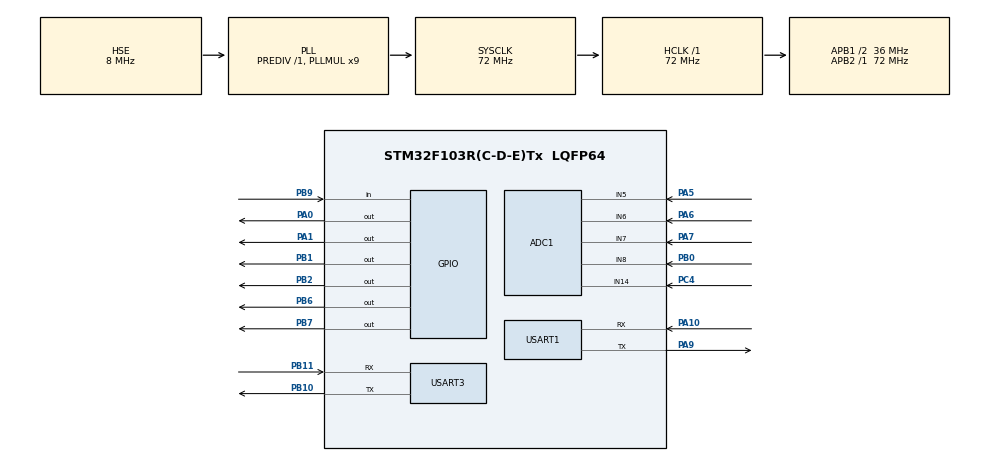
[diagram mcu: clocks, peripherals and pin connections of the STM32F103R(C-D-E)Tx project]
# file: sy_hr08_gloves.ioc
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ADC1.Channel-0\#ChannelRegularConversion=ADC_CHANNEL_5
ADC1.Channel-1\#ChannelRegularConversion=ADC_CHANNEL_6
ADC1.Channel-2\#ChannelRegularConversion=ADC_CHANNEL_7
ADC1.Channel-3\#ChannelRegularConversion=ADC_CHANNEL_14
ADC1.Channel-4\#ChannelRegularConversion=ADC_CHANNEL_8
ADC1.ContinuousConvMode=DISABLE
ADC1.DataAlign=ADC_DATAALIGN_RIGHT
ADC1.DiscontinuousConvMode=DISABLE
ADC1.EnableAnalogWatchDog=false
ADC1.EnableRegularConversion=ENABLE
ADC1.ExternalTrigConvEdgeChoice=NONE
ADC1.InjNumberOfConversion=0
ADC1.NbrOfConversion=5
ADC1.NbrOfConversionFlag=1
ADC1.Rank-0\#ChannelRegularConversion=1
ADC1.Rank-1\#ChannelRegularConversion=2
ADC1.Rank-2\#ChannelRegularConversion=3
ADC1.Rank-3\#ChannelRegularConversion=4
ADC1.Rank-4\#ChannelRegularConversion=5
ADC1.SamplingTime-0\#ChannelRegularConversion=ADC_SAMPLETIME_71CYCLES_5
ADC1.SamplingTime-1\#ChannelRegularConversion=ADC_SAMPLETIME_71CYCLES_5
ADC1.SamplingTime-2\#ChannelRegularConversion=ADC_SAMPLETIME_71CYCLES_5
ADC1.SamplingTime-3\#ChannelRegularConversion=ADC_SAMPLETIME_71CYCLES_5
ADC1.SamplingTime-4\#ChannelRegularConversion=ADC_SAMPLETIME_71CYCLES_5
ADC1.ScanConvMode=ADC_SCAN_ENABLE
ADC1.master=1
Dma.ADC1.0.Direction=DMA_PERIPH_TO_MEMORY
Dma.ADC1.0.Instance=DMA1_Channel1
Dma.ADC1.0.MemDataAlignment=DMA_MDATAALIGN_WORD
Dma.ADC1.0.MemInc=DMA_MINC_ENABLE
Dma.ADC1.0.Mode=DMA_NORMAL
Dma.ADC1.0.PeriphDataAlignment=DMA_PDATAALIGN_WORD
Dma.ADC1.0.PeriphInc=DMA_PINC_DISABLE
Dma.ADC1.0.Priority=DMA_PRIORITY_HIGH
Dma.Request0=ADC1
Mcu.Family=STM32F1
Mcu.Name=STM32F103R(C-D-E)Tx
Mcu.Package=LQFP64
NVIC.DMA1_Channel1_IRQn=true\:0\:0\:false\:false\:true
NVIC.PriorityGroup=NVIC_PRIORITYGROUP_4
NVIC.USART1_IRQn=true\:0\:0\:false\:false\:true
NVIC.USART3_IRQn=true\:0\:0\:false\:false\:true
PA0-WKUP.Signal=GPIO_Output
PA1.Signal=GPIO_Output
PA10.Mode=Asynchronous
PA10.Signal=USART1_RX
PA13.Mode=Serial_Wire
PA13.Signal=SYS_JTMS-SWDIO
PA14.Mode=Serial_Wire
PA14.Signal=SYS_JTCK-SWCLK
PA5.Signal=ADCx_IN5
PA6.Signal=ADCx_IN6
PA7.Signal=ADCx_IN7
PA9.Mode=Asynchronous
PA9.Signal=USART1_TX
PB0.Signal=ADCx_IN8
PB1.Signal=GPIO_Output
PB10.Mode=Asynchronous
PB10.Signal=USART3_TX
PB11.Mode=Asynchronous
PB11.Signal=USART3_RX
PB2.Signal=GPIO_Output
PB6.Signal=GPIO_Output
PB7.Signal=GPIO_Output
PB9.GPIO_PuPd=GPIO_PULLUP
PB9.Signal=GPIO_Input
PC4.Signal=ADCx_IN14
PD0-OSC_IN.Mode=HSE-External-Oscillator
PD0-OSC_IN.Signal=RCC_OSC_IN
PD1-OSC_OUT.Mode=HSE-External-Oscillator
PD1-OSC_OUT.Signal=RCC_OSC_OUT
ProjectManager.HeapSize=0x200
ProjectManager.StackSize=0x400
ProjectManager.TargetToolchain=MDK-ARM V5
RCC.ADCPresc=RCC_ADCPCLK2_DIV6
RCC.AHBFreq_Value=72000000
RCC.APB1CLKDivider=RCC_HCLK_DIV2
RCC.APB1Freq_Value=36000000
RCC.APB1TimCLKDivider=1
RCC.APB1TimFreq_Value=36000000
RCC.APB2Freq_Value=72000000
RCC.APB2TimFreq_Value=72000000
RCC.HCLKFreq_Value=72000000
RCC.HSIState=RCC_HSI_ON
RCC.PLLMUL=RCC_PLL_MUL9
RCC.PLLSourceVirtual=RCC_PLLSOURCE_HSE
RCC.SYSCLKFreq_VALUE=72000000
RCC.SYSCLKSource=RCC_SYSCLKSOURCE_PLLCLK
RCC.USBFreq_Value=72000000
SH.ADCx_IN14.0=ADC1_IN14,IN14
SH.ADCx_IN5.0=ADC1_IN5,IN5
SH.ADCx_IN6.0=ADC1_IN6,IN6
SH.ADCx_IN7.0=ADC1_IN7,IN7
SH.ADCx_IN8.0=ADC1_IN8,IN8
board=sy_hr08_gloves

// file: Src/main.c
/**
  ******************************************************************************
  * File Name          : main.c
  * Description        : Main program body
  ******************************************************************************
  *
  * COPYRIGHT(c) 2018 STMicroelectronics
  *
  * Redistribution and use in source and binary forms, with or without modification,
  * are permitted provided that the following conditions are met:
  *   1. Redistributions of source code must retain the above copyright notice,
  *      this list of conditions and the following disclaimer.
  *   2. Redistributions in binary form must reproduce the above copyright notice,
  *      this list of conditions and the following disclaimer in the documentation
  *      and/or other materials provided with the distribution.
  *   3. Neither the name of STMicroelectronics nor the names of its contributors
  *      may be used to endorse or promote products derived from this software
  *      without specific prior written permission.
  *
  * THIS SOFTWARE IS PROVIDED BY THE COPYRIGHT HOLDERS AND CONTRIBUTORS "AS IS"
  * AND ANY EXPRESS OR IMPLIED WARRANTIES, INCLUDING, BUT NOT LIMITED TO, THE
  * IMPLIED WARRANTIES OF MERCHANTABILITY AND FITNESS FOR A PARTICULAR PURPOSE ARE
  * DISCLAIMED. IN NO EVENT SHALL THE COPYRIGHT HOLDER OR CONTRIBUTORS BE LIABLE
  * FOR ANY DIRECT, INDIRECT, INCIDENTAL, SPECIAL, EXEMPLARY, OR CONSEQUENTIAL
  * DAMAGES (INCLUDING, BUT NOT LIMITED TO, PROCUREMENT OF SUBSTITUTE GOODS OR
  * SERVICES; LOSS OF USE, DATA, OR PROFITS; OR BUSINESS INTERRUPTION) HOWEVER
  * CAUSED AND ON ANY THEORY OF LIABILITY, WHETHER IN CONTRACT, STRICT LIABILITY,
  * OR TORT (INCLUDING NEGLIGENCE OR OTHERWISE) ARISING IN ANY WAY OUT OF THE USE
  * OF THIS SOFTWARE, EVEN IF ADVISED OF THE POSSIBILITY OF SUCH DAMAGE.
  *
  ******************************************************************************
  */
#include "stm32f1xx_hal.h"

/* USER CODE BEGIN Includes */
#include "cmsis_os.h" // ARM::CMSIS:RTOS:Keil RTX
#include <stdio.h>
#include <string.h>
#include <stdlib.h>
#include "thread_of_imu_uart.h"
#include "thread_of_host_uart.h"
/* USER CODE END Includes */

ADC_HandleTypeDef hadc1;
DMA_HandleTypeDef hdma_adc1;

UART_HandleTypeDef huart1;
UART_HandleTypeDef huart3;

/* USER CODE BEGIN PV */
/* Private variables ---------------------------------------------------------*/

/* USER CODE END PV */

void SystemClock_Config(void);
static void MX_GPIO_Init(void);
static void MX_DMA_Init(void);
static void MX_ADC1_Init(void);
static void MX_USART1_UART_Init(void);
static void MX_USART3_UART_Init(void);

/* USER CODE BEGIN PFP */
/* Private function prototypes -----------------------------------------------*/

/* USER CODE END PFP */

/* USER CODE BEGIN 0 */

extern uint32_t os_time;
uint32_t HAL_GetTick(void) {
	// Add HAL_GetTick function for STM32Cube HAL

return os_time;
}
/* USER CODE END 0 */

int main(void)
{

  /* USER CODE BEGIN 1 */
	osKernelInitialize ();               // Initialize RTOS Kernel for setup
  /* USER CODE END 1 */

  /* MCU Configuration----------------------------------------------------------*/

  /* Reset of all peripherals, Initializes the Flash interface and the Systick. */
  HAL_Init();

  /* Configure the system clock */
  SystemClock_Config();

  /* Initialize all configured peripherals */
  MX_GPIO_Init();
  MX_DMA_Init();
  MX_ADC1_Init();
  MX_USART1_UART_Init();
  MX_USART3_UART_Init();

  /* USER CODE BEGIN 2 */

	init_thread_of_imu_uart ();
	init_thread_of_host_uart_tx ();
	init_thread_of_host_uart_rx ();

	osKernelStart ();                    // Begin thread switching
	HAL_GPIO_WritePin(GPIOB, GPIO_PIN_1, GPIO_PIN_RESET);
	osDelay(50);
	HAL_GPIO_WritePin(GPIOB, GPIO_PIN_1, GPIO_PIN_SET);
	HAL_ADCEx_Calibration_Start(&hadc1);
  /* USER CODE END 2 */

  /* Infinite loop */
  while (1)
  {

  /* USER CODE BEGIN 3 */
		osDelay(1000);
		HAL_GPIO_TogglePin(GPIOA,GPIO_PIN_0);
		HAL_GPIO_TogglePin(GPIOA,GPIO_PIN_1);
  }
  /* USER CODE END 3 */

}

/** System Clock Configuration
*/
void SystemClock_Config(void)
{

  RCC_OscInitTypeDef RCC_OscInitStruct;
  RCC_ClkInitTypeDef RCC_ClkInitStruct;
  RCC_PeriphCLKInitTypeDef PeriphClkInit;

  RCC_OscInitStruct.OscillatorType = RCC_OSCILLATORTYPE_HSE;
  RCC_OscInitStruct.HSEState = RCC_HSE_ON;
  RCC_OscInitStruct.HSEPredivValue = RCC_HSE_PREDIV_DIV1;
  RCC_OscInitStruct.PLL.PLLState = RCC_PLL_ON;
  RCC_OscInitStruct.PLL.PLLSource = RCC_PLLSOURCE_HSE;
  RCC_OscInitStruct.PLL.PLLMUL = RCC_PLL_MUL9;
  HAL_RCC_OscConfig(&RCC_OscInitStruct);

  RCC_ClkInitStruct.ClockType = RCC_CLOCKTYPE_HCLK|RCC_CLOCKTYPE_SYSCLK
                              |RCC_CLOCKTYPE_PCLK1|RCC_CLOCKTYPE_PCLK2;
  RCC_ClkInitStruct.SYSCLKSource = RCC_SYSCLKSOURCE_PLLCLK;
  RCC_ClkInitStruct.AHBCLKDivider = RCC_SYSCLK_DIV1;
  RCC_ClkInitStruct.APB1CLKDivider = RCC_HCLK_DIV2;
  RCC_ClkInitStruct.APB2CLKDivider = RCC_HCLK_DIV1;
  HAL_RCC_ClockConfig(&RCC_ClkInitStruct, FLASH_LATENCY_2);

  PeriphClkInit.PeriphClockSelection = RCC_PERIPHCLK_ADC;
  PeriphClkInit.AdcClockSelection = RCC_ADCPCLK2_DIV6;
  HAL_RCCEx_PeriphCLKConfig(&PeriphClkInit);

  HAL_SYSTICK_Config(HAL_RCC_GetHCLKFreq()/1000);

  HAL_SYSTICK_CLKSourceConfig(SYSTICK_CLKSOURCE_HCLK);

  /* SysTick_IRQn interrupt configuration */
  HAL_NVIC_SetPriority(SysTick_IRQn, 0, 0);
}

/* ADC1 init function */
void MX_ADC1_Init(void)
{

  ADC_ChannelConfTypeDef sConfig;

    /**Common config
    */
  hadc1.Instance = ADC1;
  hadc1.Init.ScanConvMode = ADC_SCAN_ENABLE;
  hadc1.Init.ContinuousConvMode = DISABLE;
  hadc1.Init.DiscontinuousConvMode = DISABLE;
  hadc1.Init.ExternalTrigConv = ADC_SOFTWARE_START;
  hadc1.Init.DataAlign = ADC_DATAALIGN_RIGHT;
  hadc1.Init.NbrOfConversion = 5;
  HAL_ADC_Init(&hadc1);

    /**Configure Regular Channel
    */
  sConfig.Channel = ADC_CHANNEL_5;
  sConfig.Rank = 1;
  sConfig.SamplingTime = ADC_SAMPLETIME_71CYCLES_5;
  HAL_ADC_ConfigChannel(&hadc1, &sConfig);

    /**Configure Regular Channel
    */
  sConfig.Channel = ADC_CHANNEL_6;
  sConfig.Rank = 2;
  HAL_ADC_ConfigChannel(&hadc1, &sConfig);

    /**Configure Regular Channel
    */
  sConfig.Channel = ADC_CHANNEL_7;
  sConfig.Rank = 3;
  HAL_ADC_ConfigChannel(&hadc1, &sConfig);

    /**Configure Regular Channel
    */
  sConfig.Channel = ADC_CHANNEL_14;
  sConfig.Rank = 4;
  HAL_ADC_ConfigChannel(&hadc1, &sConfig);

    /**Configure Regular Channel
    */
  sConfig.Channel = ADC_CHANNEL_8;
  sConfig.Rank = 5;
  HAL_ADC_ConfigChannel(&hadc1, &sConfig);

}

/* USART1 init function */
void MX_USART1_UART_Init(void)
{

  huart1.Instance = USART1;
  huart1.Init.BaudRate = 115200;
  huart1.Init.WordLength = UART_WORDLENGTH_8B;
  huart1.Init.StopBits = UART_STOPBITS_1;
  huart1.Init.Parity = UART_PARITY_NONE;
  huart1.Init.Mode = UART_MODE_TX_RX;
  huart1.Init.HwFlowCtl = UART_HWCONTROL_NONE;
  huart1.Init.OverSampling = UART_OVERSAMPLING_16;
  HAL_UART_Init(&huart1);

}

/* USART3 init function */
void MX_USART3_UART_Init(void)
{

  huart3.Instance = USART3;
  huart3.Init.BaudRate = 115200;
  huart3.Init.WordLength = UART_WORDLENGTH_8B;
  huart3.Init.StopBits = UART_STOPBITS_1;
  huart3.Init.Parity = UART_PARITY_NONE;
  huart3.Init.Mode = UART_MODE_TX_RX;
  huart3.Init.HwFlowCtl = UART_HWCONTROL_NONE;
  huart3.Init.OverSampling = UART_OVERSAMPLING_16;
  HAL_UART_Init(&huart3);

}

void MX_DMA_Init(void)
{
  /* DMA controller clock enable */
  __HAL_RCC_DMA1_CLK_ENABLE();

  /* DMA interrupt init */
  /* DMA1_Channel1_IRQn interrupt configuration */
  HAL_NVIC_SetPriority(DMA1_Channel1_IRQn, 0, 0);
  HAL_NVIC_EnableIRQ(DMA1_Channel1_IRQn);

}

/** Configure pins as
        * Analog
        * Input
        * Output
        * EVENT_OUT
        * EXTI
*/
void MX_GPIO_Init(void)
{

  GPIO_InitTypeDef GPIO_InitStruct;

  /* GPIO Ports Clock Enable */
  __HAL_RCC_GPIOD_CLK_ENABLE();
  __HAL_RCC_GPIOA_CLK_ENABLE();
  __HAL_RCC_GPIOC_CLK_ENABLE();
  __HAL_RCC_GPIOB_CLK_ENABLE();

  /*Configure GPIO pin Output Level */
  HAL_GPIO_WritePin(GPIOA, GPIO_PIN_0|GPIO_PIN_1, GPIO_PIN_RESET);

  /*Configure GPIO pin Output Level */
  HAL_GPIO_WritePin(GPIOB, GPIO_PIN_1|GPIO_PIN_2|GPIO_PIN_6|GPIO_PIN_7, GPIO_PIN_RESET);

  /*Configure GPIO pins : PA0 PA1 */
  GPIO_InitStruct.Pin = GPIO_PIN_0|GPIO_PIN_1;
  GPIO_InitStruct.Mode = GPIO_MODE_OUTPUT_PP;
  GPIO_InitStruct.Speed = GPIO_SPEED_FREQ_LOW;
  HAL_GPIO_Init(GPIOA, &GPIO_InitStruct);

  /*Configure GPIO pins : PB1 PB2 PB6 PB7 */
  GPIO_InitStruct.Pin = GPIO_PIN_1|GPIO_PIN_2|GPIO_PIN_6|GPIO_PIN_7;
  GPIO_InitStruct.Mode = GPIO_MODE_OUTPUT_PP;
  GPIO_InitStruct.Speed = GPIO_SPEED_FREQ_LOW;
  HAL_GPIO_Init(GPIOB, &GPIO_InitStruct);

  /*Configure GPIO pin : PB9 */
  GPIO_InitStruct.Pin = GPIO_PIN_9;
  GPIO_InitStruct.Mode = GPIO_MODE_INPUT;
  GPIO_InitStruct.Pull = GPIO_PULLUP;
  HAL_GPIO_Init(GPIOB, &GPIO_InitStruct);

}

/************************ (C) COPYRIGHT STMicroelectronics *****END OF FILE****/
